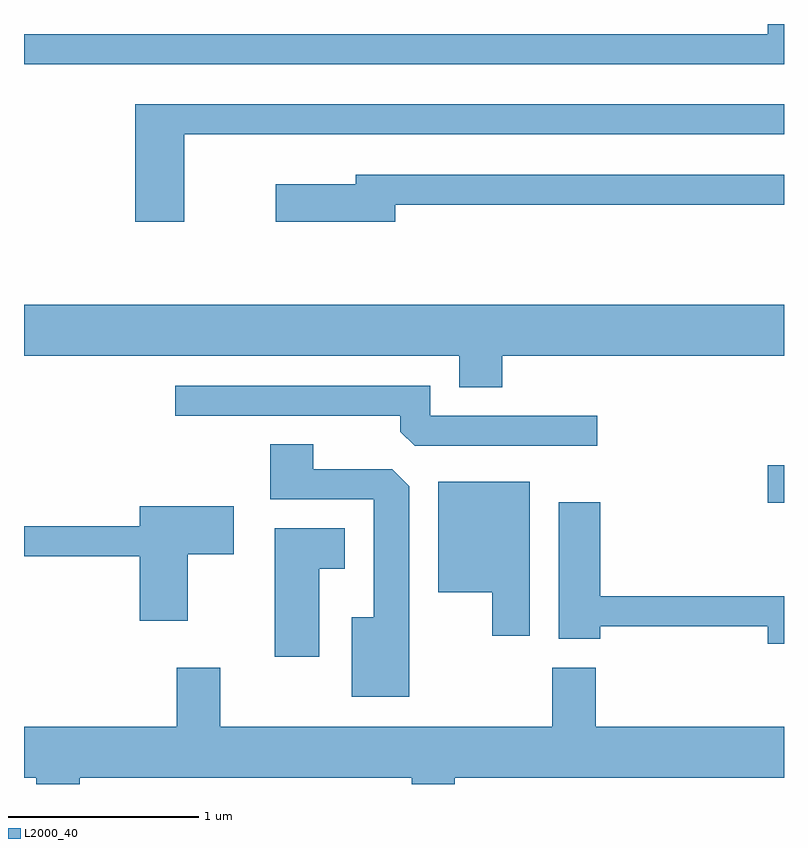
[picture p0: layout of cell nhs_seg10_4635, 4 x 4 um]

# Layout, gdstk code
import gdstk
lib = gdstk.Library(unit=1e-6, precision=1e-09)
def R(c, l, rs):  # rectangles x0, y0, x1, y1
    for r in rs: c.add(gdstk.rectangle(r[:2], r[2:], *l))
def P(c, l, *ps):  # polygons
    for p in ps: c.add(gdstk.Polygon(p, *l))
L2000_40 = (2000, 40)

nhs_seg10_4635 = lib.new_cell('nhs_seg10_4635')
R(nhs_seg10_4635, L2000_40, [(325.526,2142.001,325.611,2142.199)])
P(nhs_seg10_4635, L2000_40, [(325.611,2144.522),(325.526,2144.522),(325.526,2144.469),(321.611,2144.469),(321.611,2144.311),(325.611,2144.311)],
  [(322.454,2143.941),(325.611,2143.941),(325.611,2144.099),(322.196,2144.099),(322.196,2143.481),(322.454,2143.481)],
  [(323.564,2143.571),(325.611,2143.571),(325.611,2143.729),(323.356,2143.729),(323.356,2143.679),(322.936,2143.679),(322.936,2143.481),(323.564,2143.481)],
  [(324.129,2142.776),(325.611,2142.776),(325.611,2143.044),(321.611,2143.044),(321.611,2142.776),(323.901,2142.776),(323.901,2142.611),(324.129,2142.611)],
  [(324.628,2142.459),(323.749,2142.459),(323.749,2142.619),(322.408,2142.619),(322.408,2142.461),(323.591,2142.461),(323.591,2142.377),(323.667,2142.301),(324.628,2142.301)],
  [(323.639,2142.089),(323.549,2142.179),(323.134,2142.179),(323.134,2142.309),(322.906,2142.309),(322.906,2142.021),(323.451,2142.021),(323.451,2141.399),(323.336,2141.399),(323.336,2140.981),(323.639,2140.981)],
  [(324.274,2142.114),(323.791,2142.114),(323.791,2141.531),(324.076,2141.531),(324.076,2141.301),(324.274,2141.301)],
  [(325.611,2141.509),(324.644,2141.509),(324.644,2142.004),(324.426,2142.004),(324.426,2141.286),(324.644,2141.286),(324.644,2141.351),(325.526,2141.351),(325.526,2141.261),(325.611,2141.261)],
  [(322.474,2141.731),(322.714,2141.731),(322.714,2141.984),(322.221,2141.984),(322.221,2141.879),(321.611,2141.879),(321.611,2141.721),(322.221,2141.721),(322.221,2141.381),(322.474,2141.381)],
  [(323.164,2141.656),(323.299,2141.656),(323.299,2141.869),(322.931,2141.869),(322.931,2141.191),(323.164,2141.191)],
  [(321.904,2140.556),(323.651,2140.556),(323.651,2140.522),(323.879,2140.522),(323.879,2140.556),(325.611,2140.556),(325.611,2140.824),(324.619,2140.824),(324.619,2141.134),(324.391,2141.134),(324.391,2140.824),(322.644,2140.824),(322.644,2141.134),(322.416,2141.134),(322.416,2140.824),(321.611,2140.824),(321.611,2140.556),(321.676,2140.556),(321.676,2140.522),(321.904,2140.522)])

lib.write_gds('nhs_seg10_4635.gds')
